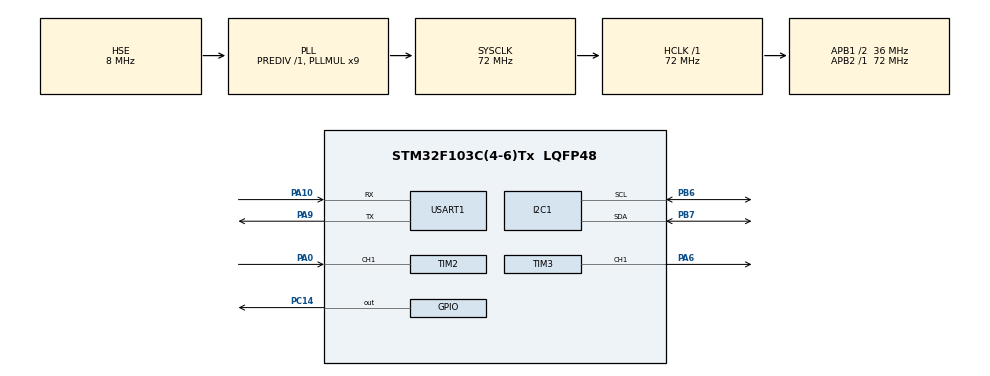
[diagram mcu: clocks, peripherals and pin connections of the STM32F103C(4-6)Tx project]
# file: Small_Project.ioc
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I2C1.I2C_Mode=I2C_Fast
Mcu.Family=STM32F1
Mcu.Name=STM32F103C(4-6)Tx
Mcu.Package=LQFP48
NVIC.PriorityGroup=NVIC_PRIORITYGROUP_4
NVIC.TIM2_IRQn=true\:0\:0\:false\:false\:true\:true\:true\:true
NVIC.TIM3_IRQn=true\:0\:0\:false\:false\:true\:true\:true\:true
NVIC.USART1_IRQn=true\:0\:0\:false\:false\:true\:true\:true\:true
PA0-WKUP.Signal=S_TIM2_CH1_ETR
PA10.Mode=Asynchronous
PA10.Signal=USART1_RX
PA13.Mode=Trace_Asynchronous_SW
PA13.Signal=SYS_JTMS-SWDIO
PA14.Mode=Trace_Asynchronous_SW
PA14.Signal=SYS_JTCK-SWCLK
PA6.Signal=S_TIM3_CH1
PA9.Mode=Asynchronous
PA9.Signal=USART1_TX
PB3.Mode=Trace_Asynchronous_SW
PB3.Signal=SYS_JTDO-TRACESWO
PB6.Mode=I2C
PB6.Signal=I2C1_SCL
PB7.Mode=I2C
PB7.Signal=I2C1_SDA
PC14-OSC32_IN.Signal=GPIO_Output
PD0-OSC_IN.Mode=HSE-External-Oscillator
PD0-OSC_IN.Signal=RCC_OSC_IN
PD1-OSC_OUT.Mode=HSE-External-Oscillator
PD1-OSC_OUT.Signal=RCC_OSC_OUT
ProjectManager.HeapSize=0x200
ProjectManager.StackSize=0x400
ProjectManager.TargetToolchain=STM32CubeIDE
RCC.AHBFreq_Value=72000000
RCC.APB1CLKDivider=RCC_HCLK_DIV2
RCC.APB1Freq_Value=36000000
RCC.APB1TimFreq_Value=72000000
RCC.APB2Freq_Value=72000000
RCC.APB2TimFreq_Value=72000000
RCC.HCLKFreq_Value=72000000
RCC.PLLMUL=RCC_PLL_MUL9
RCC.PLLSourceVirtual=RCC_PLLSOURCE_HSE
RCC.SYSCLKFreq_VALUE=72000000
RCC.SYSCLKSource=RCC_SYSCLKSOURCE_PLLCLK
RCC.USBFreq_Value=72000000
SH.S_TIM2_CH1_ETR.0=TIM2_CH1,Input_Capture1_from_TI1
SH.S_TIM3_CH1.0=TIM3_CH1,PWM Generation1 CH1
TIM2.Channel-Input_Capture1_from_TI1=TIM_CHANNEL_1
TIM2.Prescaler=71
TIM3.Channel-PWM\ Generation1\ CH1=TIM_CHANNEL_1
TIM3.Period=999
TIM3.Prescaler=71
USART1.VirtualMode=VM_ASYNC
board=custom

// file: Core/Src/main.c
/* USER CODE BEGIN Header */
/**
  ******************************************************************************
  * @file           : main.c
  * @brief          : Main program body
  ******************************************************************************
  * @attention
  *
  * Copyright (c) 2026 STMicroelectronics.
  * All rights reserved.
  *
  * This software is licensed under terms that can be found in the LICENSE file
  * in the root directory of this software component.
  * If no LICENSE file comes with this software, it is provided AS-IS.
  *
  ******************************************************************************
  */
/* USER CODE END Header */
#include "main.h"
#include "i2c.h"
#include "tim.h"
#include "usart.h"
#include "gpio.h"

/* USER CODE BEGIN Includes */
#include <stdio.h>
#include <stdint.h>
/* USER CODE END Includes */

void SystemClock_Config(void);

/* USER CODE BEGIN 0 */
uint32_t previous_us_tick = 0;
uint32_t distance;
uint8_t sample_count = 0; // Đếm số lượng mẫu đã lấy

void DWT_Init(void) {
  // Kích hoạt DWT (Trace Enable) trong thanh ghi DEMCR của CoreDebug
  CoreDebug->DEMCR |= CoreDebug_DEMCR_TRCENA_Msk;

  // Reset bộ đếm chu kỳ về 0
  DWT->CYCCNT = 0;

  // Bật bộ đếm (Cycle count enable) trong thanh ghi CTRL của DWT
  DWT->CTRL |= DWT_CTRL_CYCCNTENA_Msk;
}

void DWT_Delay_us(uint32_t us) {
  uint32_t startTick = DWT->CYCCNT;
  uint32_t delayTicks = us * (SystemCoreClock / 1000000);
  while ((DWT->CYCCNT - startTick) < delayTicks);
}

/* USER CODE END 0 */

int main(void)
{

  /* MCU Configuration--------------------------------------------------------*/

  /* Reset of all peripherals, Initializes the Flash interface and the Systick. */
  HAL_Init();

  /* Configure the system clock */
  SystemClock_Config();

  /* Initialize all configured peripherals */
  MX_GPIO_Init();
  MX_I2C1_Init();
  MX_TIM2_Init();
  MX_TIM3_Init();
  MX_USART1_UART_Init();
  /* USER CODE BEGIN 2 */
  DWT_Init();
  HAL_TIM_Base_Start(&htim2);
  /* USER CODE END 2 */

  /* Infinite loop */
  /* USER CODE BEGIN WHILE */
  uint32_t now = 0, last_change = 0;
  uint32_t distance_list[5] = {0};
  uint8_t index = 0;

  while (1)
  {
    now = HAL_GetTick();

    if (now - last_change >= 100) {
      HAL_GPIO_WritePin(GPIOC, GPIO_PIN_14, GPIO_PIN_SET);
      DWT_Delay_us(10);
      HAL_GPIO_WritePin(GPIOC, GPIO_PIN_14, GPIO_PIN_RESET);

      uint32_t timeout_start = HAL_GetTick();
      uint8_t sensor_err = 0; // Cờ lưu trạng thái lỗi

      // Đợi chân ECHO lên HIGH (Bắt đầu nhận sóng)
      while (HAL_GPIO_ReadPin(GPIOA, GPIO_PIN_0) == GPIO_PIN_RESET){
        if(HAL_GetTick() - timeout_start >= 50){
          sensor_err = 1;
          break;
        }
      }

      if (sensor_err == 0) {
        uint32_t start_time = __HAL_TIM_GET_COUNTER(&htim2);
        timeout_start = HAL_GetTick();

        // Đợi chân ECHO xuống LOW (Kết thúc nhận sóng)
        while (HAL_GPIO_ReadPin(GPIOA, GPIO_PIN_0) == GPIO_PIN_SET){
          if(HAL_GetTick() - timeout_start >= 50){
            sensor_err = 2;
            break;
          }
        }

        // CHÚ Ý CHỖ NÀY: Toàn bộ việc lưu array và lọc nhiễu phải nằm gọn trong if này
        if(sensor_err == 0){
          uint32_t end_time = __HAL_TIM_GET_COUNTER(&htim2); // Lưu thời điểm kết thúc
          uint32_t duration = 0;

          if (end_time >= start_time) {
              duration = end_time - start_time;
          } else {
              duration = (65535 - start_time) + end_time + 1; // Trường hợp timer 2 bị tràn
          }
          distance = duration / 58; // Tính khoảng cách, chia 58 theo datasheet

          // Cập nhật mảng data
          distance_list[index] = distance;
          index = (index + 1) % 5;

          if (sample_count < 5) {
            sample_count++;
          }

          // Tính toán bộ lọc
          if (sample_count == 5) {
            uint32_t sum = 0;
            uint32_t top = 0;
            uint32_t bot = distance_list[0];

            for (int i = 0; i < 5; i++) {
              sum += distance_list[i];
              if (distance_list[i] > top) top = distance_list[i];
              if (distance_list[i] < bot) bot = distance_list[i];
            }
            sum -= (top + bot);
            uint32_t final_distance = sum / 3;

            printf("Raw: %lu cm | Filtered: %lu cm\r\n", distance, final_distance);
          } else {
            printf("Raw: %lu cm | Loading filter...\r\n", distance);
          }
        } // <-- Đóng ngoặc của (sensor_err == 0) lần 2
      } // <-- Đóng ngoặc của (sensor_err == 0) lần 1

      // 4. Xử lý in ra cảnh báo nếu có lỗi xảy ra
      if (sensor_err == 1) {
          printf("Error: Timeout waiting for ECHO HIGH (Check wiring)\r\n");
      } else if (sensor_err == 2) {
          printf("Error: Timeout waiting for ECHO LOW (Out of range or bad sensor)\r\n");
      }

      last_change = now; // Di chuyển last_change vào TRONG khối if
    }

    /* USER CODE END WHILE */

  }
}

void SystemClock_Config(void)
{
  RCC_OscInitTypeDef RCC_OscInitStruct = {0};
  RCC_ClkInitTypeDef RCC_ClkInitStruct = {0};

  /** Initializes the RCC Oscillators according to the specified parameters
  * in the RCC_OscInitTypeDef structure.
  */
  RCC_OscInitStruct.OscillatorType = RCC_OSCILLATORTYPE_HSE;
  RCC_OscInitStruct.HSEState = RCC_HSE_ON;
  RCC_OscInitStruct.HSEPredivValue = RCC_HSE_PREDIV_DIV1;
  RCC_OscInitStruct.HSIState = RCC_HSI_ON;
  RCC_OscInitStruct.PLL.PLLState = RCC_PLL_ON;
  RCC_OscInitStruct.PLL.PLLSource = RCC_PLLSOURCE_HSE;
  RCC_OscInitStruct.PLL.PLLMUL = RCC_PLL_MUL9;
  if (HAL_RCC_OscConfig(&RCC_OscInitStruct) != HAL_OK)
  {
    Error_Handler();
  }

  /** Initializes the CPU, AHB and APB buses clocks
  */
  RCC_ClkInitStruct.ClockType = RCC_CLOCKTYPE_HCLK|RCC_CLOCKTYPE_SYSCLK
                              |RCC_CLOCKTYPE_PCLK1|RCC_CLOCKTYPE_PCLK2;
  RCC_ClkInitStruct.SYSCLKSource = RCC_SYSCLKSOURCE_PLLCLK;
  RCC_ClkInitStruct.AHBCLKDivider = RCC_SYSCLK_DIV1;
  RCC_ClkInitStruct.APB1CLKDivider = RCC_HCLK_DIV2;
  RCC_ClkInitStruct.APB2CLKDivider = RCC_HCLK_DIV1;

  if (HAL_RCC_ClockConfig(&RCC_ClkInitStruct, FLASH_LATENCY_2) != HAL_OK)
  {
    Error_Handler();
  }
}

/* USER CODE BEGIN 4 */
int _write(int fd, char* ptr, int len){
  HAL_StatusTypeDef hstatus;
  if(fd == 1 || fd == 2){
    hstatus = HAL_UART_Transmit(&huart1, (uint8_t*)ptr, len, HAL_MAX_DELAY);
    if (hstatus == HAL_OK) return len;
  }
  return -1;
}
/* USER CODE END 4 */

void Error_Handler(void)
{
  __disable_irq();
  while (1)
  {
  }
}
